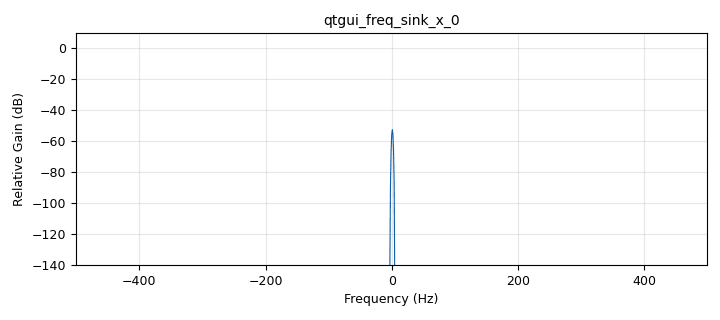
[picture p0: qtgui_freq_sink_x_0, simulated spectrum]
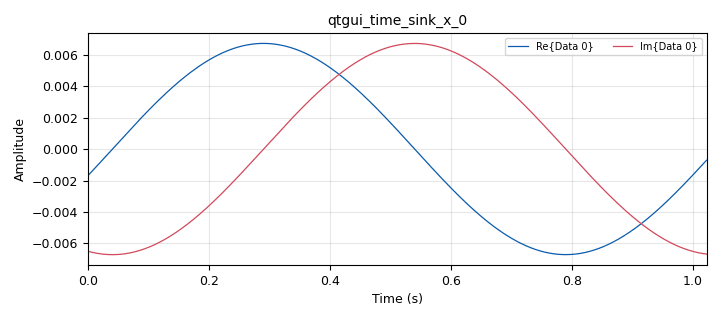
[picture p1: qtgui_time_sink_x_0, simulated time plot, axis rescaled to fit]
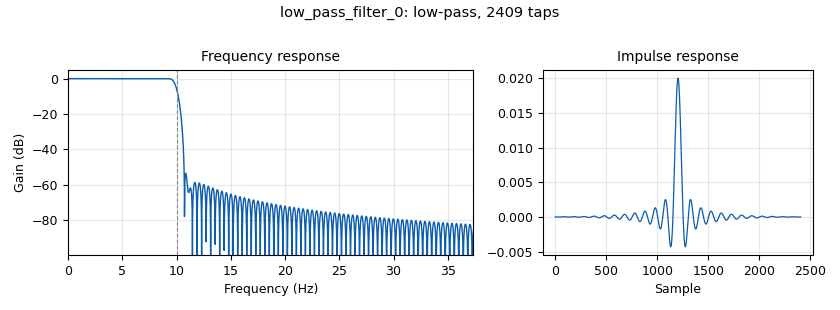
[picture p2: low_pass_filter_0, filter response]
options:
  parameters:
    author: slamnia
    generate_options: qt_gui
    id: Emission_AM
    output_language: python
    title: Emission_AM
  states: {}

blocks:
- name: amplitude
  id: variable_qtgui_range
  parameters:
    orient: Qt.Horizontal
    start: '0'
    step: '0.1'
    stop: '5'
    value: '1'
  states: {}
- name: center_freq
  id: variable
  parameters:
    value: '100'
  states: {}
- name: composante_continue
  id: variable_qtgui_range
  parameters:
    orient: Qt.Horizontal
    start: '-5'
    step: '0.1'
    stop: '5'
    value: '0'
  states: {}
- name: freq_filtre
  id: variable_qtgui_range
  parameters:
    orient: Qt.Horizontal
    start: '1'
    step: '1'
    stop: '100'
    value: '10'
  states: {}
- name: freq_modulant
  id: variable_qtgui_range
  parameters:
    orient: Qt.Horizontal
    start: '1'
    step: '1'
    stop: '10'
    value: '1'
  states: {}
- name: gain_filtre
  id: variable_qtgui_range
  parameters:
    orient: Qt.Horizontal
    start: '1'
    step: '1'
    stop: '1000'
    value: '1'
  states: {}
- name: indice_mod
  id: variable_qtgui_range
  parameters:
    orient: Qt.Horizontal
    start: '0'
    step: '0.05'
    stop: '2'
    value: '1'
  states: {}
- name: samp_rate
  id: variable
  parameters:
    value: '1000'
  states: {}
- name: transition_width
  id: variable_qtgui_range
  parameters:
    orient: Qt.Horizontal
    start: '1'
    step: '1'
    stop: '100'
    value: '1'
  states: {}
- name: analog_const_source_x_0
  id: analog_const_source_x
  parameters:
    const: composante_continue
    type: complex
  states: {}
- name: analog_sig_source_x_0
  id: analog_sig_source_x
  parameters:
    amp: indice_mod
    freq: freq_modulant
    offset: 1-0.5*indice_mod
    phase: '0'
    samp_rate: samp_rate
    type: complex
    waveform: analog.GR_COS_WAVE
  states: {}
- name: analog_sig_source_x_0_0
  id: analog_sig_source_x
  parameters:
    amp: amplitude
    freq: center_freq
    offset: '0'
    phase: '0'
    samp_rate: samp_rate
    type: complex
    waveform: analog.GR_COS_WAVE
  states: {}
- name: analog_sig_source_x_0_0_0
  id: analog_sig_source_x
  parameters:
    amp: amplitude
    freq: '-center_freq'
    offset: '0'
    phase: '0'
    samp_rate: samp_rate
    type: complex
    waveform: analog.GR_COS_WAVE
  states: {}
- name: blocks_add_xx_0
  id: blocks_add_xx
  parameters:
    type: complex
  states: {}
- name: blocks_multiply_xx_0
  id: blocks_multiply_xx
  parameters:
    type: complex
  states: {}
- name: blocks_multiply_xx_0_0
  id: blocks_multiply_xx
  parameters:
    type: complex
  states: {}
- name: dc_blocker_xx_0
  id: dc_blocker_xx
  parameters:
    length: '32'
    long_form: 'True'
    type: cc
  states: {}
- name: low_pass_filter_0
  id: low_pass_filter
  parameters:
    cutoff_freq: freq_filtre
    decim: '1'
    gain: gain_filtre
    samp_rate: samp_rate
    type: fir_filter_ccf
    width: transition_width
    win: firdes.WIN_HAMMING
  states: {}
- name: qtgui_freq_sink_x_0
  id: qtgui_freq_sink_x
  parameters:
    bw: samp_rate
    fc: '0'
    fftsize: '1024'
    type: complex
    wintype: firdes.WIN_BLACKMAN_hARRIS
  states: {}
- name: qtgui_time_sink_x_0
  id: qtgui_time_sink_x
  parameters:
    color1: green
    ctrlpanel: 'True'
    size: '1024'
    srate: samp_rate
    type: complex
  states: {}

connections:
- [analog_const_source_x_0, '0', blocks_add_xx_0, '1']
- [analog_sig_source_x_0, '0', blocks_multiply_xx_0, '0']
- [analog_sig_source_x_0_0, '0', blocks_multiply_xx_0, '1']
- [analog_sig_source_x_0_0_0, '0', blocks_multiply_xx_0_0, '0']
- [blocks_add_xx_0, '0', blocks_multiply_xx_0_0, '1']
- [blocks_multiply_xx_0, '0', blocks_add_xx_0, '0']
- [blocks_multiply_xx_0_0, '0', low_pass_filter_0, '0']
- [dc_blocker_xx_0, '0', qtgui_freq_sink_x_0, '0']
- [dc_blocker_xx_0, '0', qtgui_time_sink_x_0, '0']
- [low_pass_filter_0, '0', dc_blocker_xx_0, '0']

metadata:
  file_format: 1
